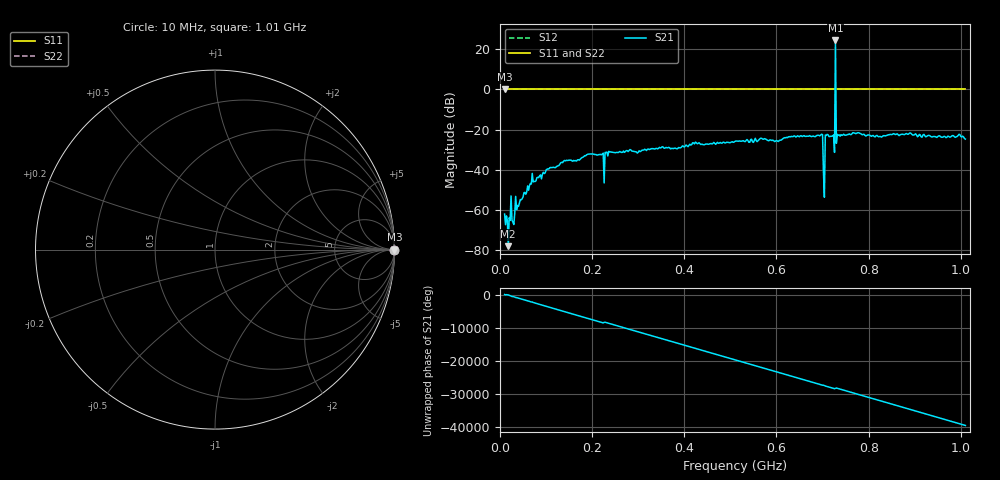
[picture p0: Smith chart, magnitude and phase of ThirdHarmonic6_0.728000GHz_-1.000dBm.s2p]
! 8/16/2025 12:21:37 AM
! C:\ANRITSUVNA\TEMP\TEMP.S2P
! CHANNEL.1
! TR.MEASUREMENT
! RAW.DATA
! RF.CORRECTION.OFF
! AVERAGING.OFF
! IF.BANDWIDTH: 5KHZ
! SWEEPTYPE:  FREQ.SWEEP(Linear)
! Reference Plane Port Info
! PORT:  PORT1  PORT2
! DISTANCE:  0  m  0  m
! TIME:  0  s  0  s
! PHASE.OFFSET:  0  deg.  0  deg.
! LOSS:  0  dB  0  dB
! REF.LOSS:  0  dB  0  dB
! REF.FREQ:  0  Hz  0  Hz
! Power Info
! POWER:  -20  dBm  -20  dBm
! EFF.POWER:  -20  dBm  -20  dBm
! SOURCE.ATTEN:  0  dB  0  dB
! TEST.ATTEN:  0  dB  0  dB
# GHZ S RI R 50.0
! FREQ.GHZ  S11RE  S11IM  S21RE  S21IM  S12RE  S12IM  S22RE  S22IM
!; PortSelection: Port_12
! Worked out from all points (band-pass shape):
!   501 points, 10 MHz to 1.01 GHz, reference 50 ohm
!   highest |S21| = 24.42 dB at 728 MHz (marker M1); lowest = -78.1 dB at 18 MHz (marker M2)
!   |S21| within 3 dB of the highest: 727.8924 MHz to 728.117 MHz (224.6 kHz wide, 0.0309 % of centre)
!   lowest |S11| = 0.0 dB at 10 MHz (marker M3)
!   |S11| at or under -10 dB: nowhere
!   |S22| runs from 0.0 to 0.0 dB; largest |S21 - S12| = 17
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0.01  1 0  0.000561 0.000548  1 0  1 0
0.018  1 0  2.78e-05 -0.000121  1 0  1 0
0.07  1 0  0.00602 -0.00537  1 0  1 0
0.136  1 0  0.00272 0.0147  1 0  1 0
0.178  1 0  -0.02 -0.0018  1 0  1 0
0.222  1 0  -0.0224 -0.00972  1 0  1 0
0.24  1 0  -0.0271 -0.00533  1 0  1 0
0.344  1 0  0.0292 -0.0176  1 0  1 0
0.51  1 0  -0.0314 0.04  1 0  1 0
0.678  1 0  -0.0662 -0.0159  1 0  1 0
0.696  1 0  -0.0728 -0.00978  1 0  1 0
0.7  1 0  0.0687 0.029  1 0  1 0
0.704  1 0  4.43e-05 -0.00206  1 0  1 0
0.706  1 0  -0.0549 0.0483  1 0  1 0
0.71  1 0  0.0712 -0.0262  1 0  1 0
0.722  1 0  -0.0556 -0.0412  1 0  1 0
0.724  1 0  -0.0552 0.0487  1 0  1 0
0.728  1 0  -12.55 10.91  1 0  1 0
0.732  1 0  -0.0739 0.0184  1 0  1 0
0.734  1 0  0.00272 0.0718  1 0  1 0
0.844  1 0  0.0657 -0.0353  1 0  1 0
1.01  1 0  -0.0169 0.0554  1 0  1 0
